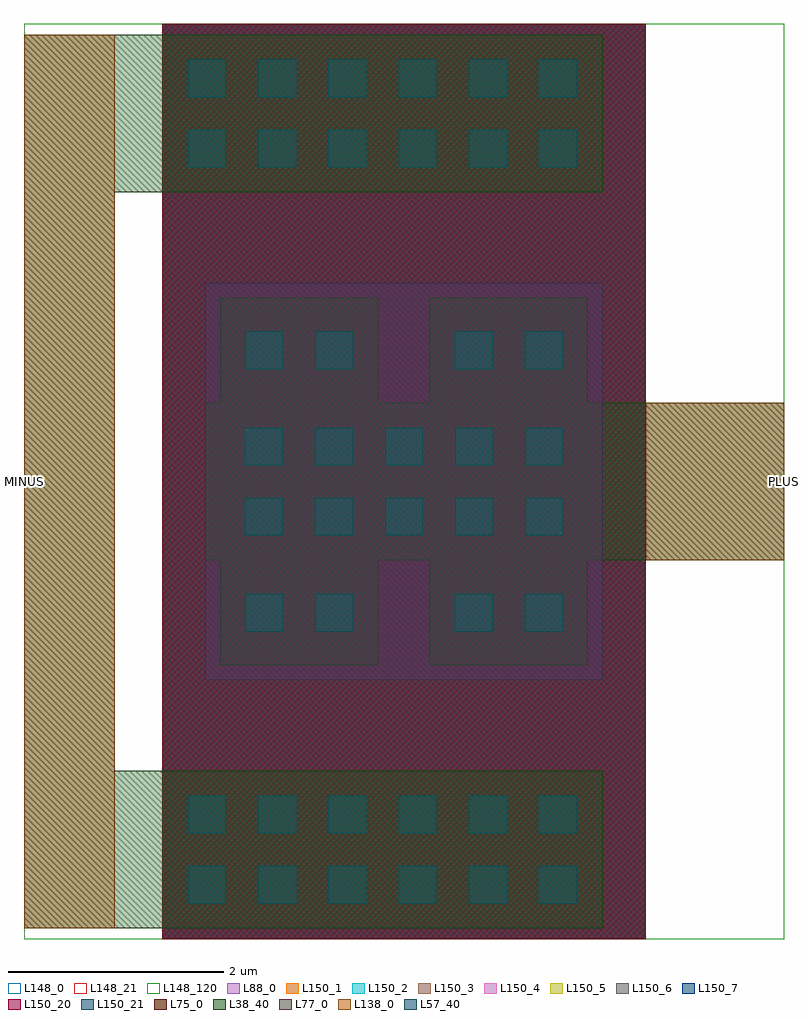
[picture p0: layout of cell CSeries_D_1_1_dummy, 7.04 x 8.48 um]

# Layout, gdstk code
import gdstk
lib = gdstk.Library(unit=1e-6, precision=1e-09)
def R(c, l, rs):  # rectangles x0, y0, x1, y1
    for r in rs: c.add(gdstk.rectangle(r[:2], r[2:], *l))
def A(c, l, x, y, w, h, nx, ny, dx, dy):  # array of equal rectangles
    R(c, l, [(x+i*dx, y+j*dy, x+i*dx+w, y+j*dy+h) for i in range(nx) for j in range(ny)])
L38_40 = (38, 40)
L57_40 = (57, 40)
L75_0 = (75, 0)
L77_0 = (77, 0)
L88_0 = (88, 0)
L138_0 = (138, 0)
L148_0 = (148, 0)
L148_21 = (148, 21)
L148_120 = (148, 120)
L150_1 = (150, 1)
L150_2 = (150, 2)
L150_3 = (150, 3)
L150_4 = (150, 4)
L150_5 = (150, 5)
L150_6 = (150, 6)
L150_7 = (150, 7)
L150_20 = (150, 20)
L150_21 = (150, 21)

cseries_d_1_1_dummy = lib.new_cell('CSeries_D_1_1_dummy')
R(cseries_d_1_1_dummy, L38_40, [(-1.68,-2.3,3.68,-0.84), (-1.68,-0.84,-0.84,4.52), (0.14,0.14,1.6,3.54), (2.08,0.14,3.54,3.54), (0,1.11,5.36,2.57), (-1.68,4.52,3.68,5.98)])
A(cseries_d_1_1_dummy, L57_40, -0.16, -2.07, 0.35, 0.35, 6, 2, 0.65, 0.65)
A(cseries_d_1_1_dummy, L57_40, 0.365, 1.34, 0.35, 0.35, 5, 2, 0.65, 0.65)
A(cseries_d_1_1_dummy, L57_40, -0.16, 4.75, 0.35, 0.35, 6, 2, 0.65, 0.65)
R(cseries_d_1_1_dummy, L57_40, [(0.37,0.45,0.72,0.8), (1.02,0.45,1.37,0.8), (2.31,0.45,2.66,0.8), (2.96,0.45,3.31,0.8), (0.37,2.88,0.72,3.23), (1.02,2.88,1.37,3.23), (2.31,2.88,2.66,3.23), (2.96,2.88,3.31,3.23)])
R(cseries_d_1_1_dummy, L75_0, [(-0.4,-2.4,4.08,6.08)])
R(cseries_d_1_1_dummy, L77_0, [(0,0,3.68,3.68)])
R(cseries_d_1_1_dummy, L88_0, [(-0.4,-2.4,4.08,6.08)])
R(cseries_d_1_1_dummy, L138_0, [(-1.68,-2.3,-0.84,5.98), (4.08,1.11,5.36,2.57)])
R(cseries_d_1_1_dummy, L148_0, [(-1.68,-2.4,5.36,6.08)])
R(cseries_d_1_1_dummy, L148_21, [(-1.68,-2.4,5.36,6.08)])
R(cseries_d_1_1_dummy, L148_120, [(-1.68,-2.4,5.36,6.08)])
R(cseries_d_1_1_dummy, L150_1, [(-0.4,-2.4,4.08,6.08)])
R(cseries_d_1_1_dummy, L150_2, [(-0.4,-2.4,4.08,6.08)])
R(cseries_d_1_1_dummy, L150_3, [(-0.4,-2.4,4.08,6.08)])
R(cseries_d_1_1_dummy, L150_4, [(-0.4,-2.4,4.08,6.08)])
R(cseries_d_1_1_dummy, L150_5, [(-0.4,-2.4,4.08,6.08)])
R(cseries_d_1_1_dummy, L150_6, [(-0.4,-2.4,4.08,6.08)])
R(cseries_d_1_1_dummy, L150_7, [(-0.4,-2.4,4.08,6.08)])
R(cseries_d_1_1_dummy, L150_20, [(-0.4,-2.4,4.08,6.08)])
R(cseries_d_1_1_dummy, L150_21, [(-0.4,-2.4,4.08,6.08)])
cseries_d_1_1_dummy.add(gdstk.Label('MINUS', (-1.68,1.84), layer=138, texttype=0))
cseries_d_1_1_dummy.add(gdstk.Label('PLUS', (5.36,1.84), layer=138, texttype=0))

lib.write_gds('CSeries_D_1_1_dummy.gds')
